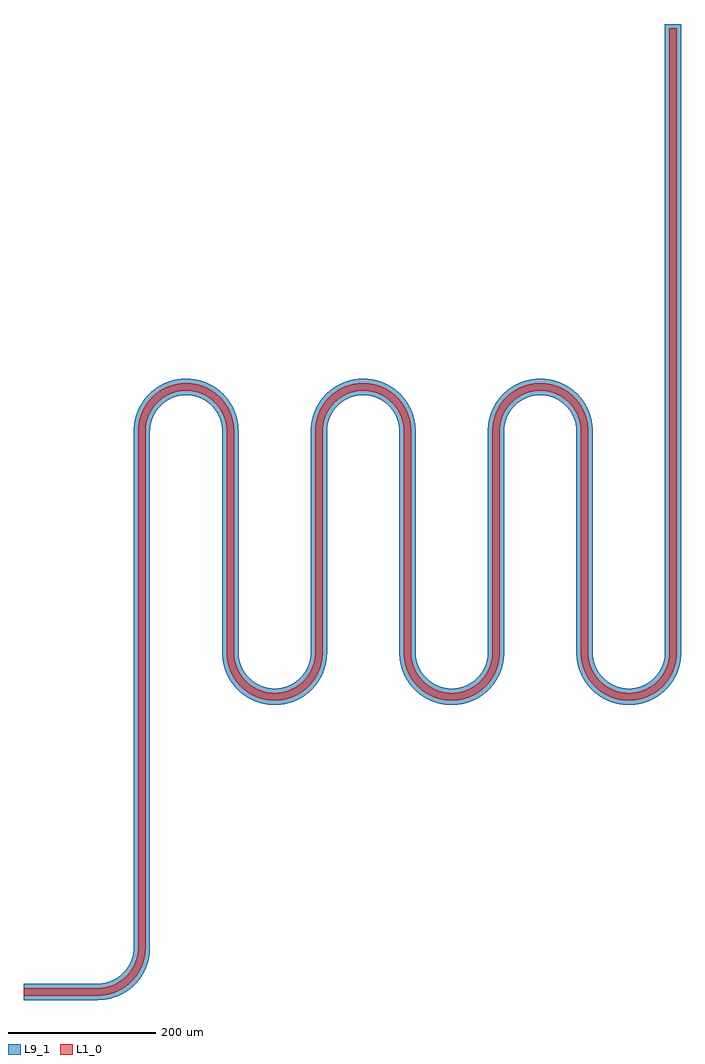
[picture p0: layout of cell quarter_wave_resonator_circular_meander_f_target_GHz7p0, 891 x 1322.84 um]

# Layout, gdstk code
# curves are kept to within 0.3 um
from math import pi, radians
import gdstk
lib = gdstk.Library(unit=1e-6, precision=1e-09)
def R(c, l, rs):  # rectangles x0, y0, x1, y1
    for r in rs: c.add(gdstk.rectangle(r[:2], r[2:], *l))
def P(c, l, *ps):  # polygons
    for p in ps: c.add(gdstk.Polygon(p, *l))
L1_0 = (1, 0)
L9_1 = (9, 1)

straight_cpw_length_um10 = lib.new_cell('straight_cpw_length_um100p0')
R(straight_cpw_length_um10, L1_0, [(0,-5,100,5)])
R(straight_cpw_length_um10, L9_1, [(0,-11,100,11)])

bend_cpw_circular_radius = lib.new_cell('bend_cpw_circular_radius_um60p0')
P(bend_cpw_circular_radius, L1_0, [(0,-5),(6.269,-4.697),(12.48,-3.791),(18.574,-2.29),(24.496,-0.208),(30.43,2.563),(35.828,5.766),(41.104,9.646),(45.769,13.845),(50.181,18.685),(53.932,23.718),(57.309,29.329),(60,35),(62.211,41.164),(63.738,47.252),(64.697,53.731),(65,60),(55,60),(53.932,49.213),(50.769,38.846),(45.763,29.492),(38.891,21.109),(30.508,14.237),(21.154,9.231),(10.787,6.068),(0,5)])
P(bend_cpw_circular_radius, L9_1, [(0,-11),(6.848,-10.669),(13.632,-9.679),(20.575,-7.954),(27.033,-5.652),(33.502,-2.599),(39.383,0.924),(44.898,4.998),(50.205,9.795),(55.002,15.102),(59.076,20.617),(62.599,26.498),(65.652,32.967),(67.954,39.425),(69.679,46.368),(70.669,53.152),(71,60),(49,60),(48.008,50.188),(45.231,41.153),(40.771,32.82),(34.648,25.352),(27.18,19.229),(18.847,14.769),(9.812,11.992),(0,11)])

straight_cpw_length_um70 = lib.new_cell('straight_cpw_length_um700p0')
R(straight_cpw_length_um70, L1_0, [(0,-5,700,5)])
R(straight_cpw_length_um70, L9_1, [(0,-11,700,11)])

bend_cpw_circular_e25d36 = lib.new_cell('bend_cpw_circular_e25d36a0')
P(bend_cpw_circular_e25d36, L1_0, [(0,-5),(10.772,-6.065),(21.127,-9.22),(30.664,-14.341),(38.85,-21.068),(45.723,-29.432),(50.736,-38.766),(53.912,-49.115),(55,-59.885),(54.169,-69.525),(51.582,-79.088),(47.438,-87.832),(41.976,-95.54),(37.858,-99.897),(33.107,-103.92),(28.328,-107.144),(23.029,-109.947),(17.675,-112.083),(11.901,-113.697),(6.215,-114.648),(0,-115),(0,-125),(6.261,-124.698),(12.731,-123.741),(19.072,-122.139),(24.969,-120.013),(30.633,-117.329),(36.013,-114.112),(41.268,-110.219),(45.914,-106.01),(50.132,-101.374),(54.036,-96.126),(57.265,-90.753),(60.065,-84.843),(62.258,-78.681),(63.768,-72.597),(64.685,-66.397),(65,-60.136),(64.629,-53.061),(63.489,-46.068),(61.596,-39.241),(58.971,-32.66),(55.645,-26.404),(51.658,-20.548),(47.245,-15.358),(42.105,-10.481),(34.64,-4.999),(26.471,-0.634),(17.503,2.599),(8.428,4.451),(0,5)])
P(bend_cpw_circular_e25d36, L9_1, [(0,-11),(9.597,-11.949),(18.823,-14.759),(27.319,-19.322),(34.612,-25.315),(40.735,-32.766),(45.28,-41.272),(48.031,-50.302),(49,-59.897),(48.071,-69.496),(45.28,-78.728),(40.735,-87.234),(34.612,-94.685),(27.319,-100.678),(18.823,-105.241),(9.597,-108.051),(0,-109),(0,-131),(7.135,-130.641),(13.906,-129.625),(20.548,-127.962),(27.274,-125.553),(33.461,-122.621),(39.337,-119.107),(45.078,-114.854),(50.152,-110.257),(54.76,-105.193),(59.024,-99.461),(62.551,-93.592),(65.61,-87.136),(68.005,-80.405),(69.596,-74.052),(70.655,-66.987),(71,-60.149),(70.528,-51.829),(69.016,-43.331),(66.483,-35.08),(62.968,-27.197),(58.523,-19.799),(53.213,-12.995),(47.116,-6.886),(40.568,-1.731),(31.341,3.708),(21.401,7.698),(10.974,10.147),(0,11)])

straight_cpw_length_um30 = lib.new_cell('straight_cpw_length_um300p0')
R(straight_cpw_length_um30, L1_0, [(0,-5,300,5)])
R(straight_cpw_length_um30, L9_1, [(0,-11,300,11)])

bend_cpw_circular_angle_ = lib.new_cell('bend_cpw_circular_angle_deg180_radius_um60p0')
P(bend_cpw_circular_angle_, L1_0, [(0,-5),(6.261,-4.698),(12.731,-3.741),(19.072,-2.139),(24.969,-0.013),(30.633,2.671),(36.013,5.888),(41.268,9.781),(45.914,13.99),(50.132,18.626),(54.036,23.874),(57.265,29.247),(60.065,35.157),(62.258,41.319),(63.768,47.403),(64.685,53.603),(65,59.864),(64.685,66.397),(63.768,72.597),(62.258,78.681),(60.065,84.843),(57.265,90.753),(54.036,96.126),(50.132,101.374),(45.914,106.01),(41.268,110.219),(36.013,114.112),(30.633,117.329),(24.969,120.013),(19.072,122.139),(12.731,123.741),(6.261,124.698),(0,125),(0,115),(6.215,114.648),(11.901,113.697),(17.675,112.083),(23.029,109.947),(28.328,107.144),(33.107,103.92),(37.858,99.897),(41.976,95.54),(47.438,87.832),(51.582,79.088),(54.128,69.753),(55,60.115),(54.169,50.475),(51.582,40.912),(47.438,32.168),(41.976,24.46),(37.858,20.103),(33.107,16.08),(28.328,12.856),(23.029,10.053),(17.675,7.917),(11.901,6.303),(6.215,5.352),(0,5)])
P(bend_cpw_circular_angle_, L9_1, [(0,-11),(7.135,-10.641),(13.906,-9.625),(20.548,-7.962),(27.274,-5.553),(33.461,-2.621),(39.337,0.893),(45.078,5.146),(50.152,9.743),(54.76,14.807),(59.024,20.539),(62.551,26.408),(65.61,32.864),(68.005,39.595),(69.596,45.948),(70.655,53.013),(71,59.851),(70.684,66.691),(69.654,73.76),(68.005,80.405),(65.61,87.136),(62.551,93.592),(59.024,99.461),(54.76,105.193),(50.152,110.257),(45.078,114.854),(39.337,119.107),(33.461,122.621),(27.274,125.553),(20.548,127.962),(13.906,129.625),(7.135,130.641),(0,131),(0,109),(9.597,108.051),(18.823,105.241),(27.319,100.678),(34.612,94.685),(40.735,87.234),(45.28,78.728),(48.031,69.698),(49,60.103),(48.071,50.504),(45.28,41.272),(40.735,32.766),(34.612,25.315),(27.319,19.322),(18.823,14.759),(9.597,11.949),(0,11)])

straight_cpw_length_um54 = lib.new_cell('straight_cpw_length_um545p841668')
R(straight_cpw_length_um54, L1_0, [(0,-5,545.842,5)])
R(straight_cpw_length_um54, L9_1, [(0,-11,545.842,11)])

open_stud = lib.new_cell('open_stud')
R(open_stud, L9_1, [(0,0,6,22)])

quarter_wave_resonator_c = lib.new_cell('quarter_wave_resonator_circular_meander_f_target_GHz7p0')
quarter_wave_resonator_c.add(gdstk.Reference(straight_cpw_length_um10, (0,0)))
quarter_wave_resonator_c.add(gdstk.Reference(bend_cpw_circular_radius, (100,0)))
quarter_wave_resonator_c.add(gdstk.Reference(straight_cpw_length_um70, (160,60), rotation=pi/2))
quarter_wave_resonator_c.add(gdstk.Reference(bend_cpw_circular_e25d36, (160,760), rotation=pi/2))
quarter_wave_resonator_c.add(gdstk.Reference(straight_cpw_length_um30, (280,760), rotation=3*pi/2))
quarter_wave_resonator_c.add(gdstk.Reference(bend_cpw_circular_angle_, (280,460), rotation=3*pi/2))
quarter_wave_resonator_c.add(gdstk.Reference(straight_cpw_length_um30, (400,460), rotation=pi/2))
quarter_wave_resonator_c.add(gdstk.Reference(bend_cpw_circular_e25d36, (400,760), rotation=pi/2))
quarter_wave_resonator_c.add(gdstk.Reference(straight_cpw_length_um30, (520,760), rotation=3*pi/2))
quarter_wave_resonator_c.add(gdstk.Reference(bend_cpw_circular_angle_, (520,460), rotation=3*pi/2))
quarter_wave_resonator_c.add(gdstk.Reference(straight_cpw_length_um30, (640,460), rotation=pi/2))
quarter_wave_resonator_c.add(gdstk.Reference(bend_cpw_circular_e25d36, (640,760), rotation=pi/2))
quarter_wave_resonator_c.add(gdstk.Reference(straight_cpw_length_um30, (760,760), rotation=3*pi/2))
quarter_wave_resonator_c.add(gdstk.Reference(bend_cpw_circular_angle_, (760,460), rotation=3*pi/2))
quarter_wave_resonator_c.add(gdstk.Reference(straight_cpw_length_um30, (880,460), rotation=pi/2))
quarter_wave_resonator_c.add(gdstk.Reference(straight_cpw_length_um54, (880,760), rotation=pi/2))
quarter_wave_resonator_c.add(gdstk.Reference(open_stud, (891,1305.842), rotation=pi/2))

lib.write_gds('quarter_wave_resonator_circular_meander_f_target_GHz7p0.gds')
